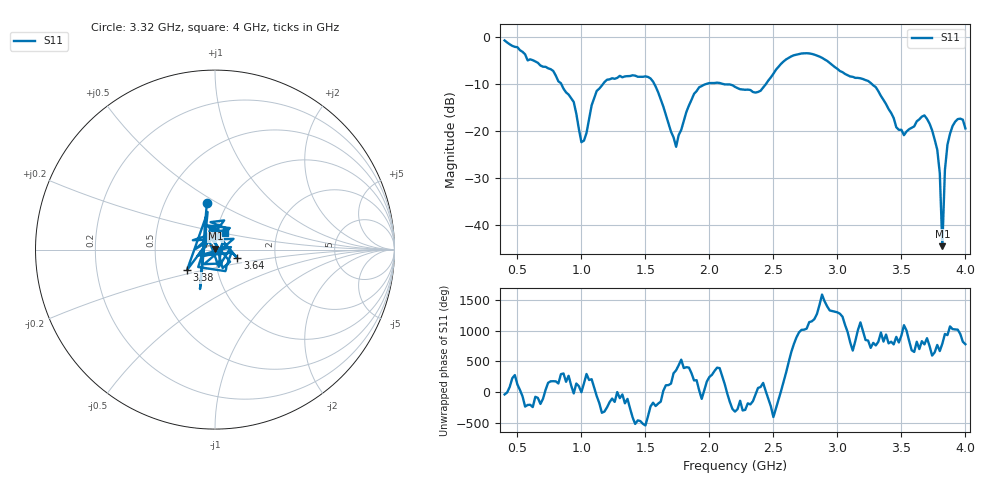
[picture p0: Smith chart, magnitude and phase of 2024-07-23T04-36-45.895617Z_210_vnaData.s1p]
!Created with skrf (http://scikit-rf.org).
# Hz S RI R 50.0
!freq ReS11 ImS11
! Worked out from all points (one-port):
!   181 points, 400 MHz to 4 GHz, reference 50 ohm
!   lowest |S11| = -44.5 dB at 3.82 GHz (marker M1), VSWR 1.01, Z = 50.2 + j0.555 ohm
!   |S11| at or under -10 dB: 1.569 GHz to 1.979 GHz (410.1 MHz wide, 23.1 % of centre); 2.101 GHz to 2.443 GHz (341.9 MHz wide, 15 % of centre); 3.267 GHz to end of sweep (the widest 3 of 4)
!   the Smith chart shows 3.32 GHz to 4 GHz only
!   S11 on the Smith chart (normalised r, x): 3.32 GHz: 0.80, +0.45; 3.38 GHz: 0.71, -0.17; 3.64 GHz: 1.28, -0.12; 4 GHz: 1.10, +0.20
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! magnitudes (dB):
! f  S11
! 400 MHz  -0.8
! 780 MHz  -7.3
! 860 MHz  -11.0
! 940 MHz  -13.9
! 1 GHz  -22.4
! 1.12 GHz  -11.5
! 1.3 GHz  -8.3
! 1.54 GHz  -8.9
! 1.74 GHz  -23.4
! 1.76 GHz  -20.9
! 1.92 GHz  -10.7
! 2.2 GHz  -10.6
! 2.4 GHz  -11.5
! 2.66 GHz  -3.9
! 3.1 GHz  -8.4
! 3.32 GHz  -11.6
! 3.38 GHz  -14.3
! 3.46 GHz  -19.2
! 3.56 GHz  -19.6
! 3.64 GHz  -17.5
! 3.7 GHz  -17.5
! 3.78 GHz  -24.0
! 3.8 GHz  -29.0
! 3.82 GHz  -44.5
! 3.84 GHz  -28.3
! 3.86 GHz  -22.9
! 3.94 GHz  -17.5
! 4 GHz  -19.5
